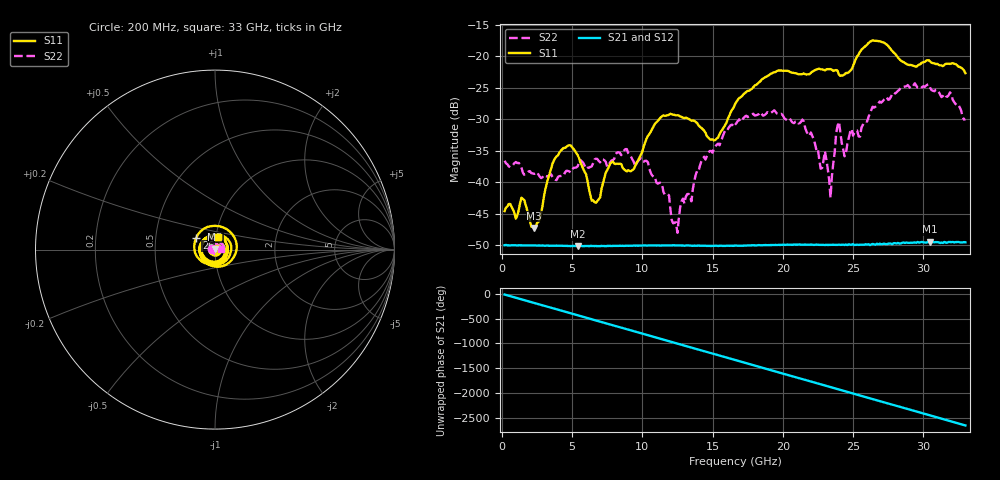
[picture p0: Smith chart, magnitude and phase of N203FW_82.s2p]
# GHZ S RI R 50
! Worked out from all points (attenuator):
!   329 points, 200 MHz to 33 GHz, reference 50 ohm
!   highest |S21| = -49.42 dB at 30.5 GHz (marker M1); lowest = -50.1 dB at 5.4 GHz (marker M2)
!   lowest |S11| = -47.2 dB at 2.3 GHz (marker M3), VSWR 1.01, Z = 50.1 + j0.414 ohm
!   |S11| at or under -10 dB: start of sweep to end of sweep
!   |S22| runs from -48.0 to -24.3 dB; largest |S21 - S12| = 8.8e-05
!   S11 on the Smith chart (normalised r, x): 200 MHz: 1.01, +0.00; 26 GHz: 0.80, +0.11; 33 GHz: 1.03, +0.15
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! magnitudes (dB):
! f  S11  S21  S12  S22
! 200 MHz  -44.5  -50.0  -49.9  -36.6
! 1.4 GHz  -42.4  -50.0  -50.0  -37.7
! 2.3 GHz  -47.2  -50.0  -50.0  -38.7
! 3.8 GHz  -36.2  -50.0  -50.0  -39.6
! 5.4 GHz  -35.7  -50.1  -50.1  -37.5
! 5.7 GHz  -37.4  -50.1  -50.1  -36.7
! 6.7 GHz  -43.2  -50.1  -50.1  -36.2
! 11.2 GHz  -30.0  -50.0  -50.0  -40.1
! 12.5 GHz  -29.4  -50.0  -50.0  -48.0
! 12.8 GHz  -29.6  -50.0  -50.0  -42.9
! 15.1 GHz  -33.4  -50.1  -50.0  -34.6
! 16.6 GHz  -27.6  -50.0  -50.0  -30.9
! 22.1 GHz  -22.5  -49.9  -49.9  -32.6
! 22.7 GHz  -22.1  -49.9  -49.9  -37.8
! 23 GHz  -22.3  -49.9  -49.9  -35.1
! 23.4 GHz  -22.0  -49.9  -49.9  -42.4
! 24 GHz  -22.9  -49.9  -49.9  -30.4
! 24.4 GHz  -22.9  -49.9  -49.8  -35.9
! 26 GHz  -18.2  -49.9  -49.8  -30.4
! 27.6 GHz  -18.7  -49.7  -49.7  -26.8
! 30.5 GHz  -20.9  -49.4  -49.5  -25.0
! 33 GHz  -22.7  -49.5  -49.5  -30.0
